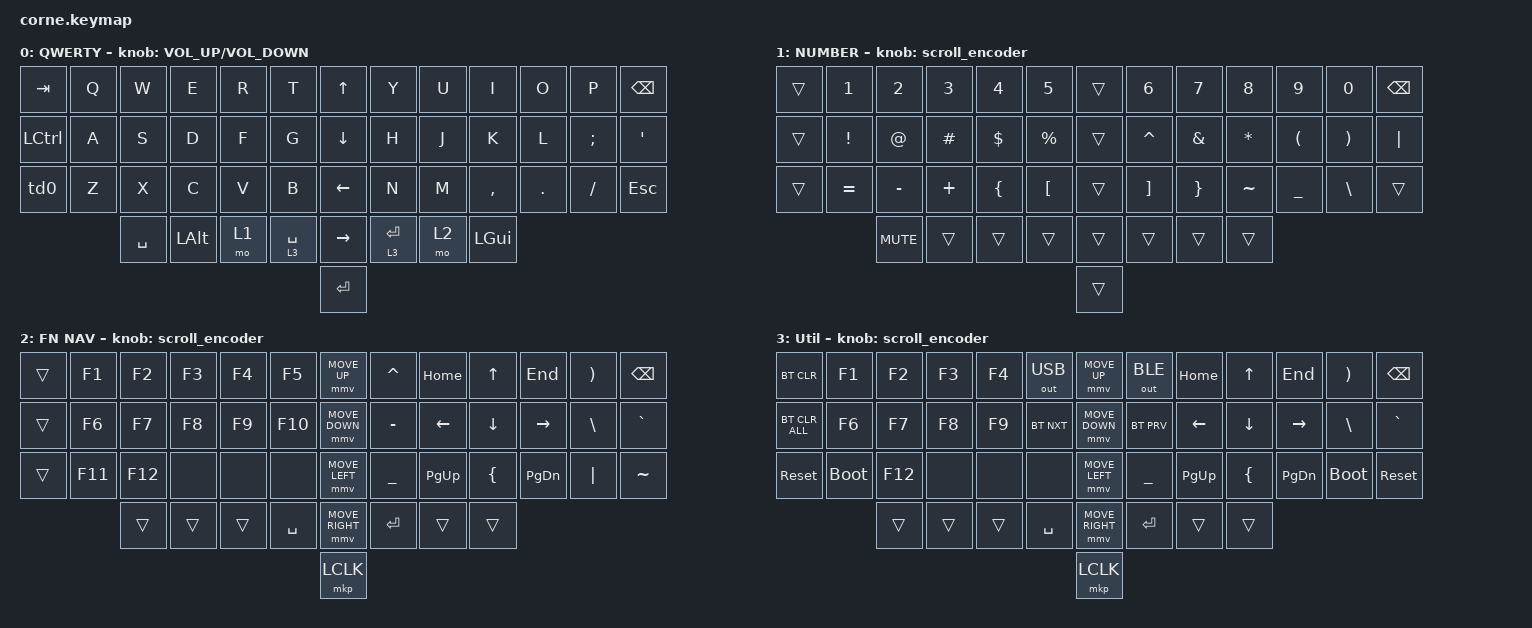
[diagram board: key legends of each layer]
#include <behaviors/mouse_keys.dtsi>
#include <behaviors.dtsi>
#include <dt-bindings/zmk/bt.h>
#include <dt-bindings/zmk/keys.h>
#include <dt-bindings/zmk/mouse.h>
#include <dt-bindings/zmk/outputs.h>
#include <dt-bindings/zmk/rgb.h>

#define ZMK_MOUSE_DEFAULT_MOVE_VAL 1200  // 600
#define ZMK_MOUSE_DEFAULT_SCRL_VAL 20    // 10
#define U_MS_U &mmv MOVE_UP
#define U_MS_D &mmv MOVE_DOWN
#define U_MS_L &mmv MOVE_LEFT
#define U_MS_R &mmv MOVE_RIGHT

/ {
    behaviors {
        td0: td0 {
            compatible = "zmk,behavior-tap-dance";
            label = "TD0";
            #binding-cells = <0>;
            bindings = <&kp LEFT_SHIFT>, <&kp CAPS>;
        };

        mmv {
            acceleration-exponent = <1>;      // 1
            time-to-max-speed-ms = <900>;    // 40
            delay-ms = <0>;                   // 0
        };

        msc {
            acceleration-exponent = <1>;      // 0
            time-to-max-speed-ms = <400>;      // 500
            delay-ms = <0>;                   // 10
        };
    };

    rgb_encoder: rgb_encoder {
        compatible = "zmk,behavior-sensor-rotate";
        label = "RGB_ENCODER";
        #sensor-binding-cells = <0>;
        bindings = <&rgb_ug RGB_BRI>, <&rgb_ug RGB_BRD>;
    };

    scroll_encoder: scroll_encoder {
        compatible = "zmk,behavior-sensor-rotate";
        #sensor-binding-cells = <0>;
        bindings = <&msc SCRL_DOWN>, <&msc SCRL_UP>;

        tap-ms = <30>;
    };

    keymap {
        compatible = "zmk,keymap";

        default_layer {
            display-name = "QWERTY";

            // --------------------------------------------------------------------------------
            // |  TAB |  Q  |  W  |  E  |  R  |  T  |                ↑    |  Y  |  U   |  I  |  O  |  P  | BKSP |      &kp UP_ARROW 
            // | CTRL |  A  |  S  |  D  |  F  |  G  |                ↓    |  H  |  J   |  K  |  L  |  ;  |  '   | 
            // | SHIFT|  Z  |  X  |  C  |  V  |  B  |                ←    |  N  |  M   |  ,  |  .  |  /  | ESC  |
            //                    | ALT | LWR | SPC |                →    | ENT | RSE  | GUI |
            //                                                      enter

            bindings = <
&kp TAB    &kp Q  &kp W      &kp E     &kp R  &kp T          &kp UP_ARROW     &kp Y        &kp U  &kp I      &kp O    &kp P     &kp BSPC
&kp LCTRL  &kp A  &kp S      &kp D     &kp F  &kp G          &kp DOWN_ARROW   &kp H        &kp J  &kp K      &kp L    &kp SEMI  &kp SQT
&td0       &kp Z  &kp X      &kp C     &kp V  &kp B          &kp LEFT_ARROW   &kp N        &kp M  &kp COMMA  &kp DOT  &kp FSLH  &kp ESC
                  &kp SPACE  &kp LALT  &mo 1  &lt 3 SPACE    &kp RIGHT_ARROW  &lt 3 ENTER  &mo 2  &kp LGUI
                                                             &kp ENTER
            >;

            label = "QWERTY";
            sensor-bindings = <&inc_dec_kp C_VOLUME_UP C_VOLUME_DOWN>;
        };

        lower_layer {
            display-name = "NUMBER";

            // -----------------------------------------------------------------------------------------
            // |  TAB |  1  |  2  |  3  |  4  |  5  |   |  6  |  7  |  8  |  9  |  0  | BKSP |
            // | CTRL |  !  |  @  |  #  |  $  |  %  |   |  ^  |  &  |  *  |  (  |  )  |  |   |
            // | SHFT |  =  |  -  |  +  |  {  |  [  |   |  ]  |  }  |  ~  |  _  |  \  |      |
            //                    | GUI |     | SPC |   | ENT |     | ALT |

            bindings = <
&trans  &kp N1     &kp N2     &kp N3    &kp N4    &kp N5      &trans  &kp N6     &kp N7    &kp N8     &kp N9     &kp N0    &kp BSPC
&trans  &kp EXCL   &kp AT     &kp HASH  &kp DLLR  &kp PRCNT   &trans  &kp CARET  &kp AMPS  &kp STAR   &kp LPAR   &kp RPAR  &kp PIPE
&trans  &kp EQUAL  &kp MINUS  &kp PLUS  &kp LBRC  &kp LBKT   &trans  &kp RBKT   &kp RBRC  &kp TILDE  &kp UNDER  &kp BSLH  &trans
                         &kp C_MUTE   &trans    &trans    &trans  &trans     &trans          &trans          &trans
                                                                  &trans
            >;

            label = "NUMBER";
            sensor-bindings = <&scroll_encoder>;
        };

        raise_layer {
            display-name = "FN  NAV";

            // -----------------------------------------------------------------------------------------
            // |  TAB |  F1 |  F2 |  F3 |  F4 |  F5 |   |  ^  | HOME|  UP | END |  )  | BKSP |
            // | CTRL |  F6 |  F7 |  F8 |  F9 | F10 |   |  -  | LFT | DWN | RGT |  \  |  `   |
            // | SHFT | F11 | F12 |     |     |     |   |  _  | PGUP|  {  | PGDN| "|" |  ~   |
            //                    | GUI |     | SPC |   | ENT |     | ALT |

            bindings = <
&trans  &kp F1    &kp F2     &kp F3   &kp F4   &kp F5    &mmv MOVE_UP     &kp CARET  &kp HOME   &kp UP     &kp END   &kp RPAR  &kp BSPC
&trans  &kp F6    &kp F7     &kp F8   &kp F9   &kp F10   &mmv MOVE_DOWN   &kp MINUS  &kp LEFT   &kp DOWN   &kp RIGHT &kp BSLH  &kp GRAVE
&trans  &kp F11   &kp F12    &none    &none    &none     &mmv MOVE_LEFT   &kp UNDER  &kp PG_UP  &kp LBRC   &kp PG_DN &kp PIPE  &kp TILDE
            &trans     &trans    &trans     &kp SPACE    &mmv MOVE_RIGHT  &kp RET    &trans     &trans
                                                         &mkp LCLK
            >;

            label = "FN  NAV";
            sensor-bindings = <&scroll_encoder>;
        };

        layer_3 {
            display-name = "Util";
            bindings = <
&bt BT_CLR     &kp F1      &kp F2     &kp F3   &kp F4   &out OUT_USB &mmv MOVE_UP     &out OUT_BLE &kp HOME   &kp UP     &kp END   &kp RPAR  &kp BSPC
&bt BT_CLR_ALL &kp F6      &kp F7     &kp F8   &kp F9   &bt BT_NXT   &mmv MOVE_DOWN   &bt BT_PRV   &kp LEFT   &kp DOWN   &kp RIGHT &kp BSLH  &kp GRAVE
&sys_reset     &bootloader &kp F12    &none    &none    &none        &mmv MOVE_LEFT   &kp UNDER    &kp PG_UP  &kp LBRC   &kp PG_DN &bootloader  &sys_reset
                      &trans        &trans     &trans     &kp SPACE  &mmv MOVE_RIGHT  &kp RET      &trans     &trans
                                                                       &mkp LCLK
            >;

            label = "Util";
            sensor-bindings = <&scroll_encoder>;
        };
    };
};
